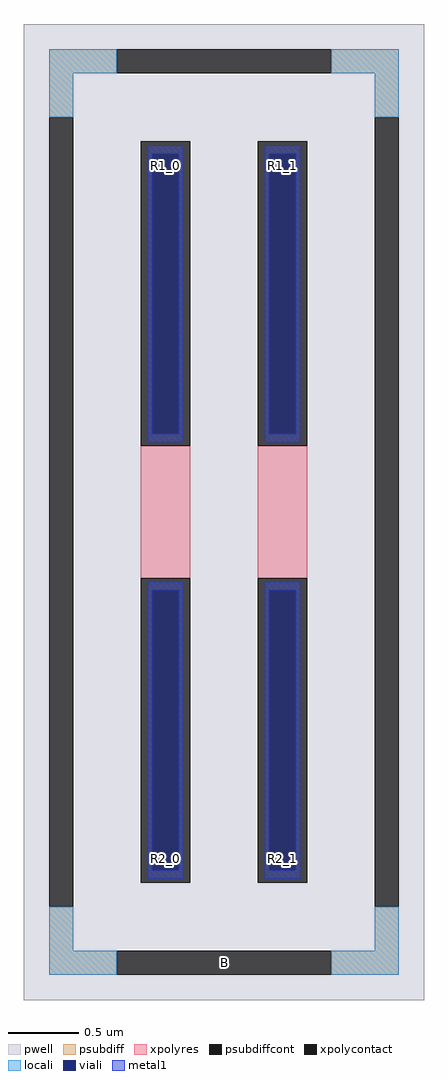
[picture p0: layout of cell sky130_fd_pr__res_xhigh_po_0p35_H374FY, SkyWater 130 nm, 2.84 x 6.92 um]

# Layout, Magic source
magic
tech sky130A
magscale 1 2
<< pwell >>
rect -284 -692 284 692
<< psubdiff >>
rect -248 622 -152 656
rect 152 622 248 656
rect -248 560 -214 622
rect 214 560 248 622
rect -248 -622 -214 -560
rect 214 -622 248 -560
rect -248 -656 -152 -622
rect 152 -656 248 -622
<< psubdiffcont >>
rect -152 622 152 656
rect -248 -560 -214 560
rect 214 -560 248 560
rect -152 -656 152 -622
<< xpolycontact >>
rect -118 94 -48 526
rect -118 -526 -48 -94
rect 48 94 118 526
rect 48 -526 118 -94
<< xpolyres >>
rect -118 -94 -48 94
rect 48 -94 118 94
<< locali >>
rect -248 622 -152 656
rect 152 622 248 656
rect -248 560 -214 622
rect 214 560 248 622
rect -248 -622 -214 -560
rect 214 -622 248 -560
rect -248 -656 -152 -622
rect 152 -656 248 -622
<< viali >>
rect -102 111 -64 508
rect 64 111 102 508
rect -102 -508 -64 -111
rect 64 -508 102 -111
<< metal1 >>
rect -108 508 -58 520
rect -108 111 -102 508
rect -64 111 -58 508
rect -108 99 -58 111
rect 58 508 108 520
rect 58 111 64 508
rect 102 111 108 508
rect 58 99 108 111
rect -108 -111 -58 -99
rect -108 -508 -102 -111
rect -64 -508 -58 -111
rect -108 -520 -58 -508
rect 58 -111 108 -99
rect 58 -508 64 -111
rect 102 -508 108 -111
rect 58 -520 108 -508
<< labels >>
rlabel psubdiffcont 0 -639 0 -639 0 B
port 1 nsew
rlabel xpolycontact -83 491 -83 491 0 R1_0
port 2 nsew
rlabel xpolycontact -83 -491 -83 -491 0 R2_0
port 3 nsew
rlabel xpolycontact 83 491 83 491 0 R1_1
port 4 nsew
rlabel xpolycontact 83 -491 83 -491 0 R2_1
port 5 nsew
<< properties >>
string FIXED_BBOX -231 -639 231 639
string gencell sky130_fd_pr__res_xhigh_po_0p35
string library sky130
string parameters w 0.35 l 1.1 m 1 nx 2 wmin 0.350 lmin 0.50 class resistor rho 2000 val 7.361k dummy 0 dw 0.0 term 188.2 sterm 0.0 caplen 0 wmax 0.350 guard 1 glc 1 grc 1 gtc 1 gbc 1 compatible {sky130_fd_pr__res_xhigh_po_0p35  sky130_fd_pr__res_xhigh_po_0p69 sky130_fd_pr__res_xhigh_po_1p41  sky130_fd_pr__res_xhigh_po_2p85 sky130_fd_pr__res_xhigh_po_5p73} snake 0 full_metal 1 n_guard 0 hv_guard 0 vias 1 viagb 0 viagt 0 viagl 0 viagr 0 doports 1
<< end >>
